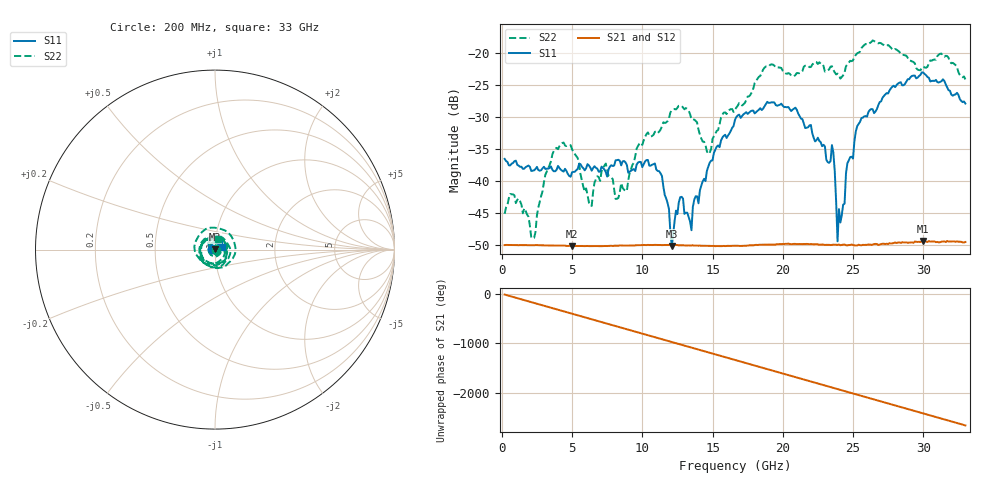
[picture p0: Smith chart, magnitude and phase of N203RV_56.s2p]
# GHZ S RI R 50
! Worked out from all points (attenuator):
!   329 points, 200 MHz to 33 GHz, reference 50 ohm
!   highest |S21| = -49.32 dB at 30 GHz (marker M1); lowest = -50.1 dB at 5 GHz (marker M2)
!   lowest |S11| = -50.1 dB at 12.1 GHz (marker M3), VSWR 1.01, Z = 49.7 + j0.179 ohm
!   |S11| at or under -10 dB: start of sweep to end of sweep
!   |S22| runs from -48.9 to -18.0 dB; largest |S21 - S12| = 7.3e-05
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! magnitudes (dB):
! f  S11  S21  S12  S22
! 200 MHz  -36.5  -50.0  -49.9  -45.1
! 1.2 GHz  -37.6  -50.0  -49.9  -42.7
! 2.3 GHz  -38.3  -50.0  -50.0  -48.8
! 3.6 GHz  -38.2  -50.0  -50.0  -35.8
! 5 GHz  -38.6  -50.1  -50.1  -35.0
! 5.7 GHz  -37.7  -50.1  -50.1  -39.8
! 6.4 GHz  -38.3  -50.1  -50.1  -43.8
! 7.4 GHz  -38.6  -50.1  -50.1  -37.2
! 8.2 GHz  -36.7  -50.1  -50.0  -42.7
! 11.2 GHz  -38.4  -49.9  -49.9  -32.3
! 12.1 GHz  -50.1  -50.0  -49.9  -28.9
! 12.7 GHz  -42.5  -50.0  -50.0  -28.2
! 13.5 GHz  -47.6  -50.0  -50.0  -30.3
! 14.7 GHz  -37.7  -50.1  -50.1  -35.7
! 16.6 GHz  -30.4  -50.1  -50.1  -28.8
! 22.1 GHz  -32.5  -49.8  -49.8  -21.8
! 23.5 GHz  -34.4  -49.9  -49.9  -22.0
! 23.9 GHz  -49.4  -49.9  -49.9  -23.2
! 25.3 GHz  -31.4  -50.0  -50.0  -20.0
! 27.6 GHz  -25.8  -49.7  -49.7  -18.9
! 30 GHz  -23.0  -49.3  -49.4  -22.1
! 33 GHz  -27.9  -49.5  -49.5  -24.1
